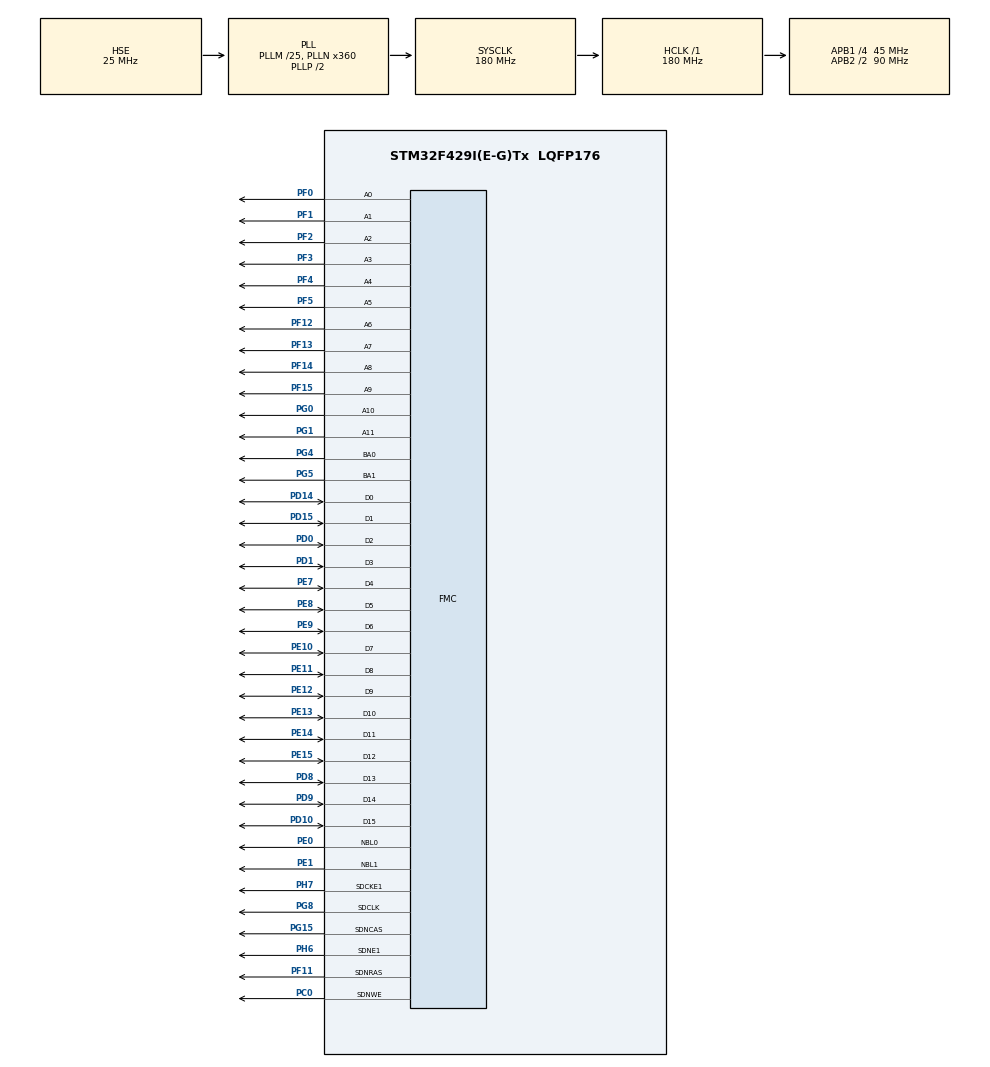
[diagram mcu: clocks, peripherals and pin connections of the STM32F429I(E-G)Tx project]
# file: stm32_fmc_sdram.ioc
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FMC.CASLatency1=FMC_SDRAM_CAS_LATENCY_2
FMC.ExitSelfRefreshDelay1=7
FMC.LoadToActiveDelay1=2
FMC.RCDDelay1=15
FMC.RPDelay1=15
FMC.RPDelay2=15
FMC.ReadBurst1=FMC_SDRAM_RBURST_ENABLE
FMC.ReadBurst2=FMC_SDRAM_RBURST_ENABLE
FMC.ReadPipeDelay1=FMC_SDRAM_RPIPE_DELAY_0
FMC.RowCycleDelay1=7
FMC.RowCycleDelay2=7
FMC.SDClockPeriod1=FMC_SDRAM_CLOCK_PERIOD_2
FMC.SDClockPeriod2=FMC_SDRAM_CLOCK_PERIOD_2
FMC.SelfRefreshTime1=5
FMC.WriteRecoveryTime1=8
Mcu.Family=STM32F4
Mcu.Name=STM32F429I(E-G)Tx
Mcu.Package=LQFP176
NVIC.PriorityGroup=NVIC_PRIORITYGROUP_4
PC0.Signal=FMC_SDNWE
PD0.Signal=FMC_D2_DA2
PD1.Signal=FMC_D3_DA3
PD10.Signal=FMC_D15_DA15
PD14.Signal=FMC_D0_DA0
PD15.Signal=FMC_D1_DA1
PD8.Signal=FMC_D13_DA13
PD9.Signal=FMC_D14_DA14
PE0.Signal=FMC_NBL0
PE1.Signal=FMC_NBL1
PE10.Signal=FMC_D7_DA7
PE11.Signal=FMC_D8_DA8
PE12.Signal=FMC_D9_DA9
PE13.Signal=FMC_D10_DA10
PE14.Signal=FMC_D11_DA11
PE15.Signal=FMC_D12_DA12
PE7.Signal=FMC_D4_DA4
PE8.Signal=FMC_D5_DA5
PE9.Signal=FMC_D6_DA6
PF0.Signal=FMC_A0
PF1.Signal=FMC_A1
PF11.Signal=FMC_SDNRAS
PF12.Signal=FMC_A6
PF13.Signal=FMC_A7
PF14.Signal=FMC_A8
PF15.Signal=FMC_A9
PF2.Signal=FMC_A2
PF3.Signal=FMC_A3
PF4.Signal=FMC_A4
PF5.Signal=FMC_A5
PG0.Signal=FMC_A10
PG1.Signal=FMC_A11
PG15.Signal=FMC_SDNCAS
PG4.Signal=FMC_A14_BA0
PG5.Signal=FMC_A15_BA1
PG8.Signal=FMC_SDCLK
PH0/OSC_IN.Mode=HSE-External-Oscillator
PH0/OSC_IN.Signal=RCC_OSC_IN
PH1/OSC_OUT.Mode=HSE-External-Oscillator
PH1/OSC_OUT.Signal=RCC_OSC_OUT
PH6.Mode=SdramChipSelect2_1
PH6.Signal=FMC_SDNE1
PH7.Mode=SdramChipSelect2_1
PH7.Signal=FMC_SDCKE1
ProjectManager.HeapSize=0x200
ProjectManager.StackSize=0x400
ProjectManager.TargetToolchain=STM32CubeIDE
RCC.48MHZClocksFreq_Value=90000000
RCC.AHBFreq_Value=180000000
RCC.APB1CLKDivider=RCC_HCLK_DIV4
RCC.APB1Freq_Value=45000000
RCC.APB1TimFreq_Value=90000000
RCC.APB2CLKDivider=RCC_HCLK_DIV2
RCC.APB2Freq_Value=90000000
RCC.APB2TimFreq_Value=180000000
RCC.CortexFreq_Value=180000000
RCC.HCLKFreq_Value=180000000
RCC.HSE_VALUE=25000000
RCC.HSI_VALUE=16000000
RCC.LSE_VALUE=32768
RCC.PLLM=25
RCC.PLLN=360
RCC.PLLSourceVirtual=RCC_PLLSOURCE_HSE
RCC.SYSCLKFreq_VALUE=180000000
RCC.SYSCLKSource=RCC_SYSCLKSOURCE_PLLCLK
RCC.VCOOutputFreq_Value=360000000
SH.FMC_A0.0=FMC_A0,12b-sda1
SH.FMC_A1.0=FMC_A1,12b-sda1
SH.FMC_A10.0=FMC_A10,12b-sda1
SH.FMC_A11.0=FMC_A11,12b-sda1
SH.FMC_A14_BA0.0=FMC_BA0,FourSdramBanks1
SH.FMC_A15_BA1.0=FMC_BA1,FourSdramBanks1
SH.FMC_A2.0=FMC_A2,12b-sda1
SH.FMC_A3.0=FMC_A3,12b-sda1
SH.FMC_A4.0=FMC_A4,12b-sda1
SH.FMC_A5.0=FMC_A5,12b-sda1
SH.FMC_A6.0=FMC_A6,12b-sda1
SH.FMC_A7.0=FMC_A7,12b-sda1
SH.FMC_A8.0=FMC_A8,12b-sda1
SH.FMC_A9.0=FMC_A9,12b-sda1
SH.FMC_D0_DA0.0=FMC_D0,sd-16b-d1
SH.FMC_D10_DA10.0=FMC_D10,sd-16b-d1
SH.FMC_D11_DA11.0=FMC_D11,sd-16b-d1
SH.FMC_D12_DA12.0=FMC_D12,sd-16b-d1
SH.FMC_D13_DA13.0=FMC_D13,sd-16b-d1
SH.FMC_D14_DA14.0=FMC_D14,sd-16b-d1
SH.FMC_D15_DA15.0=FMC_D15,sd-16b-d1
SH.FMC_D1_DA1.0=FMC_D1,sd-16b-d1
SH.FMC_D2_DA2.0=FMC_D2,sd-16b-d1
SH.FMC_D3_DA3.0=FMC_D3,sd-16b-d1
SH.FMC_D4_DA4.0=FMC_D4,sd-16b-d1
SH.FMC_D5_DA5.0=FMC_D5,sd-16b-d1
SH.FMC_D6_DA6.0=FMC_D6,sd-16b-d1
SH.FMC_D7_DA7.0=FMC_D7,sd-16b-d1
SH.FMC_D8_DA8.0=FMC_D8,sd-16b-d1
SH.FMC_D9_DA9.0=FMC_D9,sd-16b-d1
SH.FMC_NBL0.0=FMC_NBL0,Sd2ByteEnable1
SH.FMC_NBL1.0=FMC_NBL1,Sd2ByteEnable1
SH.FMC_SDCLK.0=FMC_SDCLK,12b-sda1
SH.FMC_SDNCAS.0=FMC_SDNCAS,12b-sda1
SH.FMC_SDNRAS.0=FMC_SDNRAS,12b-sda1
SH.FMC_SDNWE.0=FMC_SDNWE,12b-sda1
board=custom

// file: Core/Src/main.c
/* USER CODE BEGIN Header */
/**
  ******************************************************************************
  * @file           : main.c
  * @brief          : Main program body
  ******************************************************************************
  * @attention
  *
  * Copyright (c) 2024 STMicroelectronics.
  * All rights reserved.
  *
  * This software is licensed under terms that can be found in the LICENSE file
  * in the root directory of this software component.
  * If no LICENSE file comes with this software, it is provided AS-IS.
  *
  ******************************************************************************
  */
/* USER CODE END Header */
#include "main.h"

/* USER CODE BEGIN Includes */
#include "string.h"

#define SDRAM_MODEREG_BURST_LENGTH_1             ((uint16_t)0x0000)
#define SDRAM_MODEREG_BURST_LENGTH_2             ((uint16_t)0x0001)
#define SDRAM_MODEREG_BURST_LENGTH_4             ((uint16_t)0x0002)
#define SDRAM_MODEREG_BURST_LENGTH_8             ((uint16_t)0x0004)
#define SDRAM_MODEREG_BURST_TYPE_SEQUENTIAL      ((uint16_t)0x0000)
#define SDRAM_MODEREG_BURST_TYPE_INTERLEAVED     ((uint16_t)0x0008)
#define SDRAM_MODEREG_CAS_LATENCY_2              ((uint16_t)0x0020)
#define SDRAM_MODEREG_CAS_LATENCY_3              ((uint16_t)0x0030)
#define SDRAM_MODEREG_OPERATING_MODE_STANDARD    ((uint16_t)0x0000)
#define SDRAM_MODEREG_WRITEBURST_MODE_PROGRAMMED ((uint16_t)0x0000)
#define SDRAM_MODEREG_WRITEBURST_MODE_SINGLE     ((uint16_t)0x0200)

#define REFRESH_COUNT       ((uint32_t)1386)

#define SDRAM_BANK_ADDR                 ((uint32_t)0xD0000000)

#define SDRAM_MEMORY_WIDTH               FMC_SDRAM_MEM_BUS_WIDTH_16

#define SDCLOCK_PERIOD                   FMC_SDRAM_CLOCK_PERIOD_2
/* USER CODE END Includes */

SDRAM_HandleTypeDef hsdram1;

void SystemClock_Config(void);
static void MX_GPIO_Init(void);
static void MX_FMC_Init(void);

/* USER CODE BEGIN PFP */
static void SDRAM_Initialization_Sequence(SDRAM_HandleTypeDef *hsdram, FMC_SDRAM_CommandTypeDef *Command);
/* USER CODE END PFP */

/* USER CODE BEGIN 0 */
uint16_t buffer[5] __attribute__((at(SDRAM_BANK_ADDR)));
/* USER CODE END 0 */

int main(void)
{

  /* USER CODE BEGIN 1 */
	FMC_SDRAM_CommandTypeDef command;
  /* USER CODE END 1 */

  /* MCU Configuration--------------------------------------------------------*/

  /* Reset of all peripherals, Initializes the Flash interface and the Systick. */
  HAL_Init();

  /* Configure the system clock */
  SystemClock_Config();

  /* Initialize all configured peripherals */
  MX_GPIO_Init();
  MX_FMC_Init();
  /* USER CODE BEGIN 2 */
  SDRAM_Initialization_Sequence(&hsdram1, &command);

  buffer[0] = 1;
  buffer[1] = 2;
  buffer[2] = 3;
  buffer[3] = 4;
  buffer[4] = 5;
  /* USER CODE END 2 */

  /* Infinite loop */
  while (1)
  {

  }
}

void SystemClock_Config(void)
{
  RCC_OscInitTypeDef RCC_OscInitStruct = {0};
  RCC_ClkInitTypeDef RCC_ClkInitStruct = {0};

  /** Configure the main internal regulator output voltage
  */
  __HAL_RCC_PWR_CLK_ENABLE();
  __HAL_PWR_VOLTAGESCALING_CONFIG(PWR_REGULATOR_VOLTAGE_SCALE1);

  /** Initializes the RCC Oscillators according to the specified parameters
  * in the RCC_OscInitTypeDef structure.
  */
  RCC_OscInitStruct.OscillatorType = RCC_OSCILLATORTYPE_HSE;
  RCC_OscInitStruct.HSEState = RCC_HSE_ON;
  RCC_OscInitStruct.PLL.PLLState = RCC_PLL_ON;
  RCC_OscInitStruct.PLL.PLLSource = RCC_PLLSOURCE_HSE;
  RCC_OscInitStruct.PLL.PLLM = 25;
  RCC_OscInitStruct.PLL.PLLN = 360;
  RCC_OscInitStruct.PLL.PLLP = RCC_PLLP_DIV2;
  RCC_OscInitStruct.PLL.PLLQ = 4;
  if (HAL_RCC_OscConfig(&RCC_OscInitStruct) != HAL_OK)
  {
    Error_Handler();
  }

  /** Activate the Over-Drive mode
  */
  if (HAL_PWREx_EnableOverDrive() != HAL_OK)
  {
    Error_Handler();
  }

  /** Initializes the CPU, AHB and APB buses clocks
  */
  RCC_ClkInitStruct.ClockType = RCC_CLOCKTYPE_HCLK|RCC_CLOCKTYPE_SYSCLK
                              |RCC_CLOCKTYPE_PCLK1|RCC_CLOCKTYPE_PCLK2;
  RCC_ClkInitStruct.SYSCLKSource = RCC_SYSCLKSOURCE_PLLCLK;
  RCC_ClkInitStruct.AHBCLKDivider = RCC_SYSCLK_DIV1;
  RCC_ClkInitStruct.APB1CLKDivider = RCC_HCLK_DIV4;
  RCC_ClkInitStruct.APB2CLKDivider = RCC_HCLK_DIV2;

  if (HAL_RCC_ClockConfig(&RCC_ClkInitStruct, FLASH_LATENCY_5) != HAL_OK)
  {
    Error_Handler();
  }
}

/* FMC initialization function */
static void MX_FMC_Init(void)
{

  FMC_SDRAM_TimingTypeDef SdramTiming = {0};

  /** Perform the SDRAM1 memory initialization sequence
  */
  hsdram1.Instance = FMC_SDRAM_DEVICE;
  /* hsdram1.Init */
  hsdram1.Init.SDBank = FMC_SDRAM_BANK2;
  hsdram1.Init.ColumnBitsNumber = FMC_SDRAM_COLUMN_BITS_NUM_8;
  hsdram1.Init.RowBitsNumber = FMC_SDRAM_ROW_BITS_NUM_12;
  hsdram1.Init.MemoryDataWidth = FMC_SDRAM_MEM_BUS_WIDTH_16;
  hsdram1.Init.InternalBankNumber = FMC_SDRAM_INTERN_BANKS_NUM_4;
  hsdram1.Init.CASLatency = FMC_SDRAM_CAS_LATENCY_2;
  hsdram1.Init.WriteProtection = FMC_SDRAM_WRITE_PROTECTION_DISABLE;
  hsdram1.Init.SDClockPeriod = FMC_SDRAM_CLOCK_PERIOD_2;
  hsdram1.Init.ReadBurst = FMC_SDRAM_RBURST_ENABLE;
  hsdram1.Init.ReadPipeDelay = FMC_SDRAM_RPIPE_DELAY_0;
  /* SdramTiming */
  SdramTiming.LoadToActiveDelay = 2;
  SdramTiming.ExitSelfRefreshDelay = 7;
  SdramTiming.SelfRefreshTime = 5;
  SdramTiming.RowCycleDelay = 7;
  SdramTiming.WriteRecoveryTime = 8;
  SdramTiming.RPDelay = 15;
  SdramTiming.RCDDelay = 15;

  if (HAL_SDRAM_Init(&hsdram1, &SdramTiming) != HAL_OK)
  {
    Error_Handler( );
  }

}

static void MX_GPIO_Init(void)
{

  /* GPIO Ports Clock Enable */
  __HAL_RCC_GPIOF_CLK_ENABLE();
  __HAL_RCC_GPIOH_CLK_ENABLE();
  __HAL_RCC_GPIOC_CLK_ENABLE();
  __HAL_RCC_GPIOG_CLK_ENABLE();
  __HAL_RCC_GPIOE_CLK_ENABLE();
  __HAL_RCC_GPIOD_CLK_ENABLE();

}

/* USER CODE BEGIN 4 */
static void SDRAM_Initialization_Sequence(SDRAM_HandleTypeDef *hsdram, FMC_SDRAM_CommandTypeDef *Command)
{
  __IO uint32_t tmpmrd =0;
  /* Step 3:  Configure a clock configuration enable command */
  Command->CommandMode 			 = FMC_SDRAM_CMD_CLK_ENABLE;
  Command->CommandTarget 		 = FMC_SDRAM_CMD_TARGET_BANK2;
  Command->AutoRefreshNumber 	 = 0;
  Command->ModeRegisterDefinition = 0;

  /* Send the command */
  HAL_SDRAM_SendCommand(hsdram, Command, 0x1000);

  /* Step 4: Insert 100 ms delay */
  HAL_Delay(100);

  /* Step 5: Configure a PALL (precharge all) command */
  Command->CommandMode 			 = FMC_SDRAM_CMD_PALL;
  Command->CommandTarget 	     = FMC_SDRAM_CMD_TARGET_BANK2;
  Command->AutoRefreshNumber 	 = 0;
  Command->ModeRegisterDefinition = 0;

  /* Send the command */
  HAL_SDRAM_SendCommand(hsdram, Command, 0x1000);

  /* Step 6 : Configure a Auto-Refresh command */
  Command->CommandMode 			 = FMC_SDRAM_CMD_AUTOREFRESH_MODE;
  Command->CommandTarget 		 = FMC_SDRAM_CMD_TARGET_BANK2;
  Command->AutoRefreshNumber 	 = 2;
  Command->ModeRegisterDefinition = 0;

  /* Send the command */
  HAL_SDRAM_SendCommand(hsdram, Command, 0x1000);

  /* Step 7: Program the external memory mode register */
  tmpmrd = (uint32_t)SDRAM_MODEREG_BURST_LENGTH_4          |
                     SDRAM_MODEREG_BURST_TYPE_SEQUENTIAL   |
                     SDRAM_MODEREG_CAS_LATENCY_2           |
                     SDRAM_MODEREG_OPERATING_MODE_STANDARD |
                     SDRAM_MODEREG_WRITEBURST_MODE_SINGLE;

  Command->CommandMode = FMC_SDRAM_CMD_LOAD_MODE;
  Command->CommandTarget 		 = FMC_SDRAM_CMD_TARGET_BANK2;
  Command->AutoRefreshNumber 	 = 1;
  Command->ModeRegisterDefinition = tmpmrd;

  /* Send the command */
  HAL_SDRAM_SendCommand(hsdram, Command, 0x1000);

  HAL_SDRAM_ProgramRefreshRate(hsdram, REFRESH_COUNT);
}
/* USER CODE END 4 */

void Error_Handler(void)
{
  __disable_irq();
  while (1)
  {
  }
}
